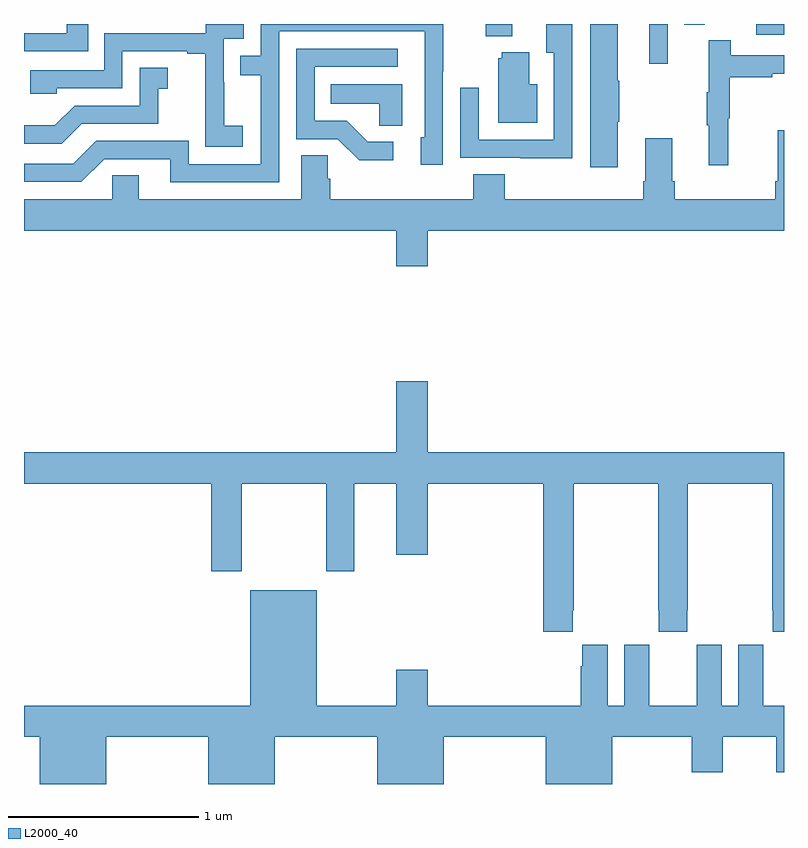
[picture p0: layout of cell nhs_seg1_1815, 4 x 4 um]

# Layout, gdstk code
import gdstk
lib = gdstk.Library(unit=1e-6, precision=1e-09)
def R(c, l, rs):  # rectangles x0, y0, x1, y1
    for r in rs: c.add(gdstk.rectangle(r[:2], r[2:], *l))
def P(c, l, *ps):  # polygons
    for p in ps: c.add(gdstk.Polygon(p, *l))
L2000_40 = (2000, 40)

nhs_seg1_1815 = lib.new_cell('nhs_seg1_1815')
R(nhs_seg1_1815, L2000_40, [(214.292,505.989,214.389,506.199), (213.431,506.135,213.571,506.199), (214.854,506.142,215,506.199), (214.474,506.194,214.582,506.199)])
P(nhs_seg1_1815, L2000_40, [(213.885,506.199),(213.749,506.199),(213.749,506.047),(213.789,506.047),(213.789,505.59),(213.393,505.59),(213.393,505.864),(213.297,505.864),(213.297,505.494),(213.613,505.494),(213.613,505.493),(213.885,505.493)],
  [(212.152,505.663),(212.054,505.663),(212.054,505.892),(212.052,505.892),(212.052,506.121),(212.157,506.121),(212.157,506.199),(211.956,506.199),(211.956,506.151),(211.422,506.151),(211.422,505.956),(211.033,505.956),(211.033,505.833),(211.173,505.833),(211.173,505.86),(211.518,505.86),(211.518,506.055),(211.859,506.055),(211.859,506.043),(211.955,506.043),(211.955,505.759),(211.954,505.759),(211.954,505.553),(212.152,505.553)],
  [(211.337,506.199),(211.226,506.199),(211.226,506.151),(211,506.151),(211,506.055),(211.337,506.055)],
  [(214.126,505.684),(214.134,505.684),(214.134,505.901),(214.126,505.901),(214.126,506.199),(213.98,506.199),(213.98,505.446),(214.126,505.446)],
  [(212.343,506.16),(213.108,506.16),(213.108,505.602),(213.089,505.602),(213.089,505.458),(213.204,505.458),(213.204,505.951),(213.207,505.951),(213.207,506.199),(212.247,506.199),(212.247,506.031),(212.137,506.031),(212.137,505.93),(212.247,505.93),(212.247,505.461),(211.866,505.461),(211.866,505.584),(211.38,505.584),(211.26,505.464),(211,505.464),(211,505.368),(211.302,505.368),(211.422,505.488),(211.769,505.488),(211.769,505.365),(212.343,505.365)],
  [(214.706,505.704),(214.714,505.704),(214.714,505.918),(214.937,505.918),(214.937,505.938),(215,505.938),(215,506.034),(214.721,506.034),(214.721,506.113),(214.604,506.113),(214.604,505.841),(214.593,505.841),(214.593,505.667),(214.604,505.667),(214.604,505.455),(214.706,505.455)],
  [(212.944,505.578),(212.809,505.578),(212.698,505.689),(212.529,505.689),(212.529,505.974),(212.968,505.974),(212.968,506.07),(212.433,506.07),(212.433,505.593),(212.652,505.593),(212.765,505.481),(212.944,505.481)],
  [(213.7,505.882),(213.658,505.882),(213.658,506.05),(213.515,506.05),(213.515,506.019),(213.497,506.019),(213.497,505.679),(213.7,505.679)],
  [(211.303,505.674),(211.707,505.674),(211.707,505.859),(211.756,505.859),(211.756,505.969),(211.608,505.969),(211.608,505.77),(211.266,505.77),(211.162,505.666),(211,505.666),(211,505.569),(211.198,505.569)],
  [(212.992,505.882),(212.614,505.882),(212.614,505.778),(212.871,505.778),(212.871,505.663),(212.992,505.663)],
  [(213.124,505.112),(215,505.112),(215,505.639),(214.967,505.639),(214.967,505.372),(214.955,505.372),(214.955,505.276),(214.424,505.276),(214.424,505.372),(214.411,505.372),(214.411,505.597),(214.271,505.597),(214.271,505.372),(214.259,505.372),(214.259,505.276),(213.53,505.276),(213.53,505.409),(213.365,505.409),(213.365,505.276),(212.612,505.276),(212.612,505.385),(212.598,505.385),(212.598,505.508),(212.459,505.508),(212.459,505.276),(211.603,505.276),(211.603,505.403),(211.464,505.403),(211.464,505.276),(211,505.276),(211,505.112),(212.96,505.112),(212.96,504.924),(213.124,504.924)],
  [(211,503.78),(211.985,503.78),(211.985,503.319),(212.145,503.319),(212.145,503.78),(212.59,503.78),(212.59,503.319),(212.737,503.319),(212.737,503.78),(212.96,503.78),(212.96,503.406),(213.124,503.406),(213.124,503.78),(213.734,503.78),(213.734,503.001),(213.887,503.001),(213.887,503.113),(213.894,503.113),(213.894,503.78),(214.339,503.78),(214.339,503.113),(214.341,503.113),(214.341,503.001),(214.491,503.001),(214.491,503.113),(214.494,503.113),(214.494,503.78),(214.939,503.78),(214.939,503.113),(214.941,503.113),(214.941,503.001),(215,503.001),(215,503.944),(213.124,503.944),(213.124,504.319),(212.96,504.319),(212.96,503.944),(211,503.944)],
  [(213.208,502.448),(213.746,502.448),(213.746,502.199),(214.096,502.199),(214.096,502.448),(214.514,502.448),(214.514,502.26),(214.678,502.26),(214.678,502.448),(214.958,502.448),(214.958,502.26),(215,502.26),(215,502.612),(214.891,502.612),(214.891,502.82),(214.89,502.82),(214.89,502.933),(214.76,502.933),(214.76,502.612),(214.672,502.612),(214.672,502.933),(214.542,502.933),(214.542,502.82),(214.541,502.82),(214.541,502.612),(214.291,502.612),(214.291,502.82),(214.29,502.82),(214.29,502.933),(214.16,502.933),(214.16,502.612),(214.072,502.612),(214.072,502.933),(213.938,502.933),(213.938,502.82),(213.929,502.82),(213.929,502.612),(213.124,502.612),(213.124,502.801),(212.96,502.801),(212.96,502.612),(212.542,502.612),(212.542,503.218),(212.192,503.218),(212.192,502.612),(211,502.612),(211,502.448),(211.082,502.448),(211.082,502.199),(211.432,502.199),(211.432,502.448),(211.97,502.448),(211.97,502.199),(212.32,502.199),(212.32,502.448),(212.858,502.448),(212.858,502.199),(213.208,502.199)])

lib.write_gds('nhs_seg1_1815.gds')
